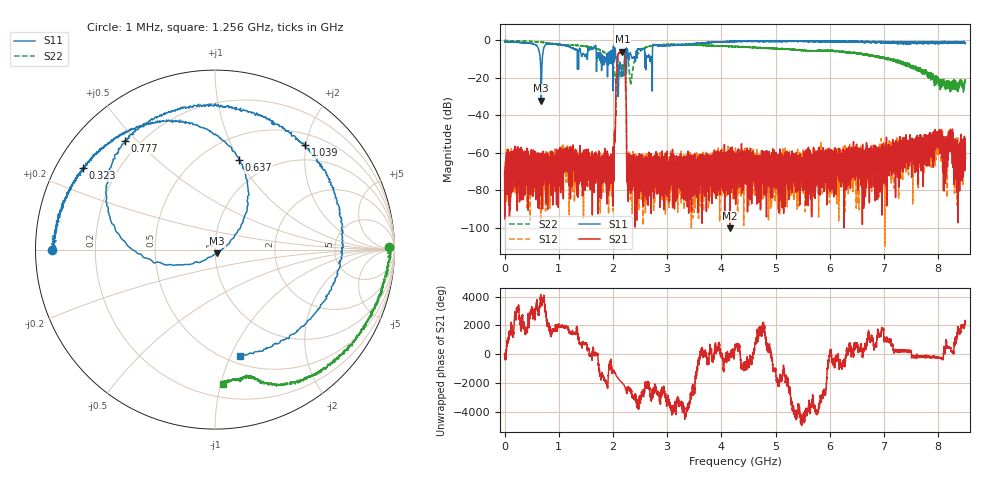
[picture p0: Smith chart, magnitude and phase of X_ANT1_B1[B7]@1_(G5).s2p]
#  HZ  S  RI  R  50.00
! Rohde & Schwarz Vector Network Analyzer
! Rohde-Schwarz,ZNBT8-20Port,1318700624101681,3.50
! Created: UTC 7/15/2025, 2:12:23 PM
! freq[Hz]  re:S1010  im:S1010  re:S0610  im:S0610  re:S1006  im:S1006  re:S66  im:S66
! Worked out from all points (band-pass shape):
!   8500 points, 1 MHz to 8.5 GHz, reference 50 ohm
!   highest |S21| = -6.09 dB at 2.173 GHz (marker M1); lowest = -100.2 dB at 4.157 GHz (marker M2)
!   |S21| within 3 dB of the highest: 2.086 GHz to 2.219 GHz (132.3 MHz wide, 6.15 % of centre)
!   lowest |S11| = -32.2 dB at 678 MHz (marker M3), VSWR 1.05, Z = 51.1 - j2.21 ohm
!   |S11| at or under -10 dB: 657.9 MHz to 696.2 MHz (38.31 MHz wide, 5.66 % of centre); 1.821 GHz to 1.839 GHz (17.68 MHz wide, 0.966 % of centre); 2.062 GHz to 2.212 GHz (150.4 MHz wide, 7.04 % of centre)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
!   |S22| runs from -41.0 to -0.2 dB; largest |S21 - S12| = 0.023
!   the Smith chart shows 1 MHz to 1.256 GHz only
!   S11 on the Smith chart (normalised r, x): 1 MHz: 0.05, -0.00; 323 MHz: 0.08, +0.28; 637 MHz: 0.73, +1.00; 777 MHz: 0.14, +0.46; 1.039 GHz: 0.70, +1.98; 1.256 GHz: 0.57, -1.09
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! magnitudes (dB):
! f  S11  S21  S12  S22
! 1 MHz  -0.8  -76.6  -73.3  -0.3
! 323 MHz  -1.3  -75.2  -63.1  -0.6
! 637 MHz  -5.7  -63.9  -65.3  -1.0
! 678 MHz  -32.2  -63.4  -78.8  -1.1
! 777 MHz  -2.1  -68.1  -71.2  -1.4
! 1.039 GHz  -2.3  -63.9  -66.5  -2.6
! 1.256 GHz  -4.3  -66.4  -80.6  -2.5
! 1.418 GHz  -8.2  -60.6  -69.9  -3.0
! 1.954 GHz  -6.9  -72.8  -66.3  -10.0
! 2.005 GHz  -3.1  -60.2  -59.8  -13.9
! 2.093 GHz  -22.6  -7.6  -7.6  -12.3
! 2.173 GHz  -18.8  -6.1  -6.2  -12.7
! 2.206 GHz  -13.9  -6.8  -6.8  -13.6
! 2.294 GHz  -9.6  -68.7  -62.1  -14.5
! 2.834 GHz  -2.8  -64.0  -64.3  -2.5
! 4.157 GHz  -0.7  -100.2  -72.0  -3.2
! 4.251 GHz  -0.6  -62.7  -63.6  -3.6
! 5.667 GHz  -0.3  -69.5  -61.6  -5.8
! 7.084 GHz  -1.0  -67.8  -61.6  -10.0
! 7.983 GHz  -1.4  -52.9  -54.0  -19.8
! 8.128 GHz  -1.3  -53.2  -58.8  -23.5
! 8.5 GHz  -1.8  -63.4  -57.6  -22.6
